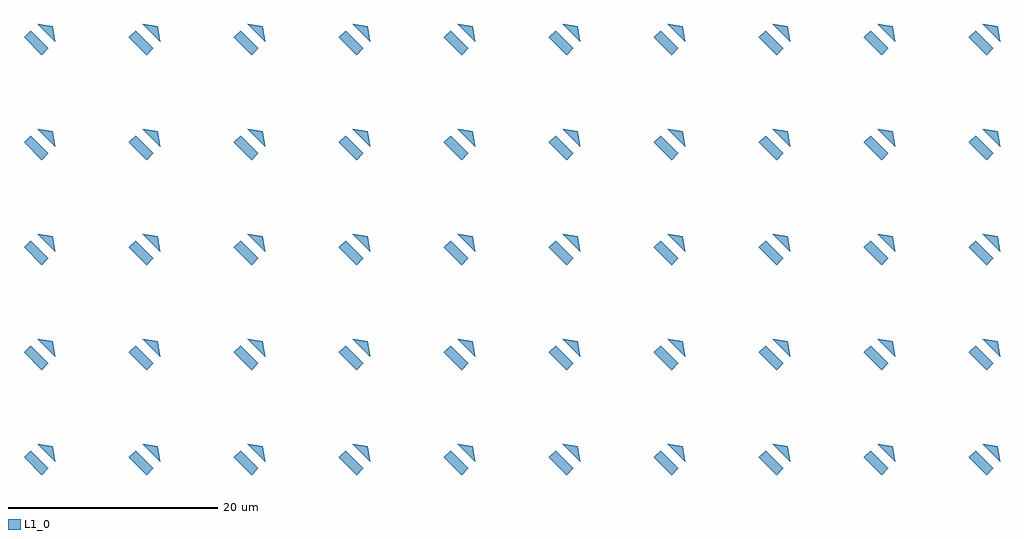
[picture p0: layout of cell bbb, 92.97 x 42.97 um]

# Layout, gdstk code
from math import pi, radians
import gdstk
lib = gdstk.Library(unit=1e-6, precision=1e-09)
def R(c, l, rs):  # rectangles x0, y0, x1, y1
    for r in rs: c.add(gdstk.rectangle(r[:2], r[2:], *l))
def P(c, l, *ps):  # polygons
    for p in ps: c.add(gdstk.Polygon(p, *l))
L1_0 = (1, 0)

ccc = lib.new_cell('ccc')
R(ccc, L1_0, [(-1,7,2,15)])
P(ccc, L1_0, [(5,15),(5,7),(8,11)])

bbb = lib.new_cell('bbb')
r = gdstk.Reference(ccc, (22,95), rotation=radians(45), magnification=0.3, x_reflection=True); r.repetition = gdstk.Repetition(10, 5, v1=(10,0), v2=(0,10)); bbb.add(r)

lib.write_gds('bbb.gds')
